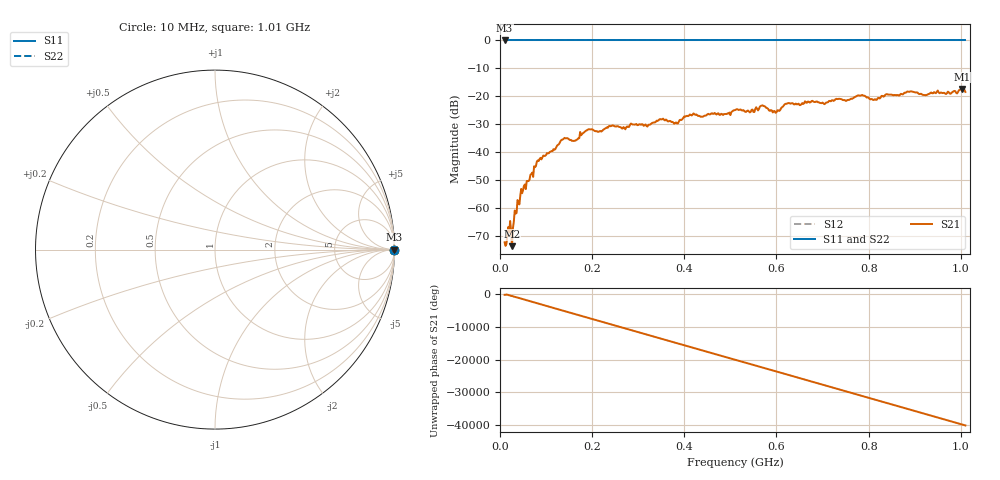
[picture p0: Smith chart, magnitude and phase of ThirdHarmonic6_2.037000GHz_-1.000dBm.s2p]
! 8/17/2025 12:26:15 AM
! C:\ANRITSUVNA\TEMP\TEMP.S2P
! CHANNEL.1
! TR.MEASUREMENT
! RAW.DATA
! RF.CORRECTION.OFF
! AVERAGING.OFF
! IF.BANDWIDTH: 5KHZ
! SWEEPTYPE:  FREQ.SWEEP(Linear)
! Reference Plane Port Info
! PORT:  PORT1  PORT2
! DISTANCE:  0  m  0  m
! TIME:  0  s  0  s
! PHASE.OFFSET:  0  deg.  0  deg.
! LOSS:  0  dB  0  dB
! REF.LOSS:  0  dB  0  dB
! REF.FREQ:  0  Hz  0  Hz
! Power Info
! POWER:  -20  dBm  -20  dBm
! EFF.POWER:  -20  dBm  -20  dBm
! SOURCE.ATTEN:  0  dB  0  dB
! TEST.ATTEN:  0  dB  0  dB
# GHZ S RI R 50.0
! FREQ.GHZ  S11RE  S11IM  S21RE  S21IM  S12RE  S12IM  S22RE  S22IM
!; PortSelection: Port_12
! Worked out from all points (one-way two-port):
!   501 points, 10 MHz to 1.01 GHz, reference 50 ohm
!   highest |S21| = -17.38 dB at 1.002 GHz (marker M1); lowest = -73.7 dB at 26 MHz (marker M2)
!   lowest |S11| = 0.0 dB at 10 MHz (marker M3)
!   |S11| at or under -10 dB: nowhere
!   |S22| runs from 0.0 to 0.0 dB; largest |S21 - S12| = 1.1
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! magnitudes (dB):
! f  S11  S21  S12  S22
! 10 MHz  0.0  -72.3  0.0  0.0
! 20 MHz  0.0  -68.8  0.0  0.0
! 26 MHz  0.0  -73.7  0.0  0.0
! 36 MHz  0.0  -61.8  0.0  0.0
! 48 MHz  0.0  -54.7  0.0  0.0
! 84 MHz  0.0  -43.2  0.0  0.0
! 136 MHz  0.0  -35.5  0.0  0.0
! 164 MHz  0.0  -35.9  0.0  0.0
! 178 MHz  0.0  -33.6  0.0  0.0
! 344 MHz  0.0  -28.6  0.0  0.0
! 382 MHz  0.0  -29.3  0.0  0.0
! 416 MHz  0.0  -26.9  0.0  0.0
! 510 MHz  0.0  -25.0  0.0  0.0
! 570 MHz  0.0  -23.3  0.0  0.0
! 596 MHz  0.0  -25.3  0.0  0.0
! 622 MHz  0.0  -22.7  0.0  0.0
! 678 MHz  0.0  -21.6  0.0  0.0
! 782 MHz  0.0  -19.8  0.0  0.0
! 814 MHz  0.0  -21.1  0.0  0.0
! 844 MHz  0.0  -19.4  0.0  0.0
! 1.002 GHz  0.0  -17.4  0.0  0.0
! 1.01 GHz  0.0  -18.4  0.0  0.0
